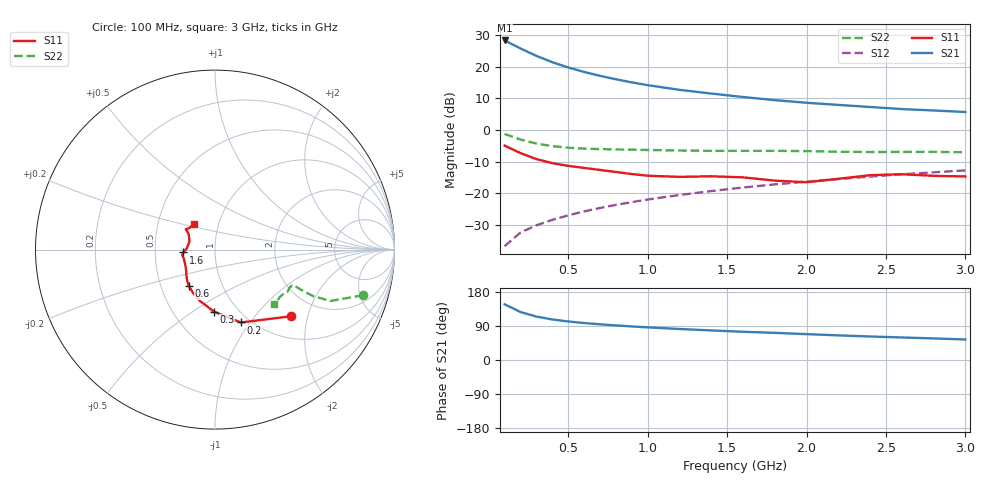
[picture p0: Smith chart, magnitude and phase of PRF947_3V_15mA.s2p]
! Filename:  PRF947F.S2P  Version:  3.0
! Philips part #:  PRF947  Date:  Nov 1998
! Bias condition:  Vce=3V, Ic=15mA
#  MHz  S  MA  R 50
! Freq  S11  S21  S12  S22  :
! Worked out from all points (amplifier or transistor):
!   20 points, 100 MHz to 3 GHz, reference 50 ohm
!   highest |S21| = 28.3 dB at 100 MHz (marker M1)
!   |S21| within 3 dB of that: start of sweep to 219.9 MHz
!   unconditionally stable (mu >= 1): 838.2 MHz to end of sweep
!   at 400 MHz: K = 0.83, MSG = 25.0 dB, |S12| = -28.5 dB
!   at 1.2 GHz: K = 1.05, MAG = 15.3 dB, |S12| = -20.6 dB
!   at 3 GHz: K = 1.04, MAG = 8.0 dB, |S12| = -12.8 dB
!   S11 on the Smith chart (normalised r, x): 100 MHz: 1.46, -1.59; 200 MHz: 0.91, -0.90; 300 MHz: 0.78, -0.61; 600 MHz: 0.69, -0.30; 1.6 GHz: 0.70, -0.02; 3 GHz: 0.76, +0.22
100  0.5646 -41.1  26.12 147.0  0.01447 73.4  0.864 -17.1
200  0.4308 -70.5  19.52 126.6  0.02379 68.0  0.7056 -23.9
300  0.3456 -91.0  14.88 114.7  0.03094 67.6  0.6089 -25.3
400  0.2983 -106.1  11.83 107.0  0.03774 69.0  0.5547 -25.2
500  0.2702 -117.1  9.762 101.7  0.04451 70.7  0.5241 -24.9
600  0.2506 -125.3  8.296 97.6  0.05133 72.1  0.507 -24.7
700  0.2331 -131.6  7.198 94.2  0.05825 73.3  0.4975 -24.6
800  0.2163 -137.3  6.351 91.3  0.06506 74.3  0.492 -24.4
900  0.2006 -143.3  5.668 88.6  0.07211 75.1  0.4873 -24.3
1000  0.1887 -149.9  5.123 86.2  0.07912 75.7  0.4822 -24.3
1200  0.1809 -162.7  4.32 81.8  0.09338 76.4  0.4729 -25.0
1400  0.1849 -170.7  3.772 78.1  0.1079 76.7  0.4668 -26.9
1600  0.1778 -174.8  3.327 74.5  0.1227 77.0  0.4671 -28.9
1800  0.1578 177.8  2.965 71.6  0.1376 76.9  0.4675 -30.2
2000  0.1489 162.9  2.696 68.3  0.1522 76.8  0.4622 -31.4
2200  0.1683 149.9  2.494 65.0  0.1669 76.6  0.4526 -33.5
2400  0.1925 145.8  2.31 62.0  0.1825 76.2  0.4472 -36.4
2600  0.1993 145.0  2.142 59.5  0.1991 75.7  0.4493 -39.2
2800  0.1879 140.9  2.034 57.0  0.2135 75.5  0.4501 -41.0
3000  0.1836 130.1  1.926 54.1  0.229 75.2  0.4439 -42.7
